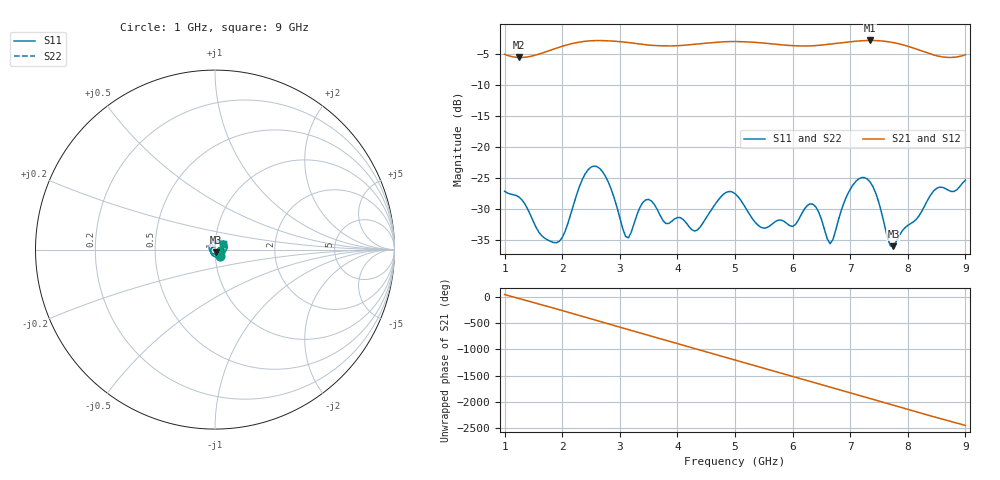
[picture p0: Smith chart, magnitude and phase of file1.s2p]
! Created Mon May 20 11:15:44 2013
# ghz S ma R 50
! 2 Port Network Data from SP1.SP block
! freq  magS11  angS11  magS21  angS21  magS12  angS12  magS22  angS22
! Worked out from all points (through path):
!   161 points, 1 GHz to 9 GHz, reference 50 ohm
!   highest |S21| = -2.74 dB at 7.35 GHz (marker M1); lowest = -5.5 dB at 1.25 GHz (marker M2)
!   group delay of S21, straight-line fit = 869 ps
!   lowest |S11| = -36.0 dB at 7.75 GHz (marker M3), VSWR 1.03, Z = 50.7 - j1.43 ohm
!   |S11| at or under -10 dB: start of sweep to end of sweep
!   |S22| runs from -36.0 to -23.0 dB; largest |S21 - S12| = 0
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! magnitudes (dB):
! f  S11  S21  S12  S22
! 1 GHz  -27.1  -5.0  -5.0  -27.1
! 1.25 GHz  -28.0  -5.5  -5.5  -28.0
! 1.6 GHz  -33.8  -4.9  -4.9  -33.8
! 1.9 GHz  -35.4  -4.0  -4.0  -35.4
! 2.35 GHz  -25.2  -2.9  -2.9  -25.2
! 2.7 GHz  -23.9  -2.8  -2.8  -23.9
! 3.15 GHz  -34.6  -3.1  -3.1  -34.6
! 3.45 GHz  -28.5  -3.4  -3.4  -28.5
! 3.7 GHz  -31.0  -3.6  -3.6  -31.0
! 4.3 GHz  -33.5  -3.4  -3.4  -33.5
! 4.8 GHz  -27.6  -3.0  -3.0  -27.6
! 5 GHz  -27.5  -2.9  -2.9  -27.5
! 5.5 GHz  -33.1  -3.2  -3.2  -33.1
! 6 GHz  -32.8  -3.6  -3.6  -32.8
! 6.35 GHz  -29.2  -3.6  -3.6  -29.2
! 6.65 GHz  -35.6  -3.3  -3.3  -35.6
! 7.05 GHz  -26.1  -2.9  -2.9  -26.1
! 7.35 GHz  -25.7  -2.7  -2.7  -25.7
! 7.7 GHz  -35.9  -3.0  -3.0  -35.9
! 7.75 GHz  -36.0  -3.1  -3.1  -36.0
! 8.45 GHz  -27.0  -5.1  -5.1  -27.0
! 9 GHz  -25.3  -5.0  -5.0  -25.3
